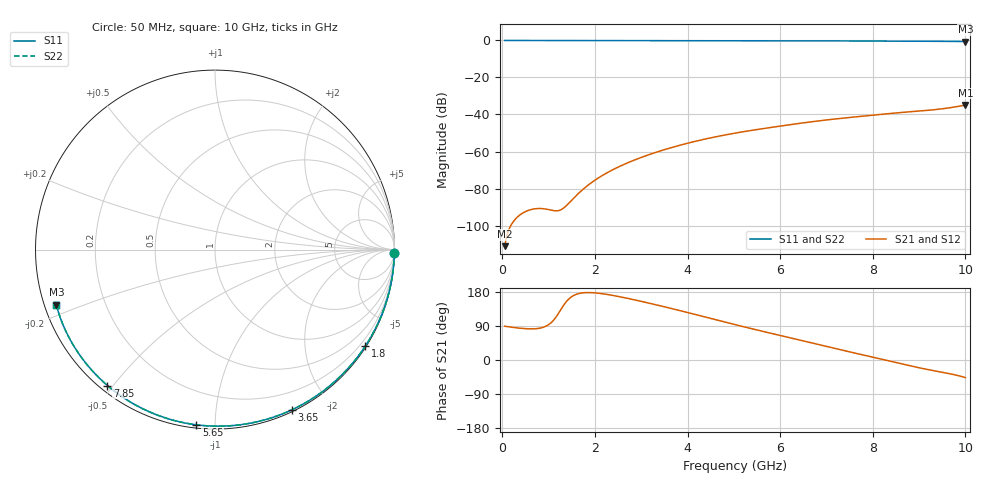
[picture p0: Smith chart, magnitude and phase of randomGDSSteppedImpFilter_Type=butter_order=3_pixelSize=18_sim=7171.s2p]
! freq	dB(S11)	phase(S11)	dB(S12)	phase(S12)
!  dB(S21)	phase(S21)	dB(S22)	phase(S22)
!S-par simulation data
#  GHz  S  DB  R 50
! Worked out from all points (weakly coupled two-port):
!   200 points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, 50 MHz to 10 GHz, reference 50 ohm
!   highest |S21| = -34.91 dB at 10 GHz (marker M1); lowest = -111.1 dB at 50 MHz (marker M2)
!   lowest |S11| = -0.6 dB at 10 GHz (marker M3), VSWR 30.11, Z = 1.71 - j8.44 ohm
!   |S11| at or under -10 dB: nowhere
!   |S22| runs from -0.6 to 0.0 dB; largest |S21 - S12| = 0
!   S11 on the Smith chart (normalised r, x): 50 MHz: open; 1.8 GHz: 0.03, -3.41; 3.65 GHz: 0.02, -1.59; 5.65 GHz: 0.02, -0.90; 7.85 GHz: 0.02, -0.48; 10 GHz: 0.03, -0.17
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0.05  -0.00 -0.9  -111.14 89.2  -111.14 89.2  -0.00 -0.9
0.5  -0.01 -9.2  -92.46 82.7  -92.46 82.7  -0.01 -9.2
0.9  -0.02 -16.5  -90.94 87.0  -90.94 87.0  -0.02 -16.5
1.3  -0.03 -23.7  -90.99 140.0  -90.99 140.0  -0.03 -23.8
1.75  -0.04 -31.8  -80.26 177.4  -80.26 177.4  -0.04 -31.8
1.8  -0.04 -32.7  -79.21 177.8  -79.21 177.8  -0.04 -32.7
1.95  -0.05 -35.4  -76.37 177.6  -76.37 177.6  -0.05 -35.4
2.1  -0.05 -38.0  -73.87 175.9  -73.87 175.9  -0.05 -38.0
2.45  -0.06 -44.1  -69.04 169.0  -69.04 169.0  -0.06 -44.1
2.9  -0.07 -51.8  -64.14 157.5  -64.14 157.5  -0.07 -51.9
3.4  -0.08 -60.3  -59.78 143.4  -59.78 143.4  -0.08 -60.3
3.65  -0.09 -64.4  -57.90 136.0  -57.90 136.0  -0.09 -64.5
4.3  -0.11 -75.0  -53.72 116.0  -53.72 116.0  -0.11 -75.0
5.05  -0.13 -86.9  -49.97 92.7  -49.97 92.7  -0.13 -86.9
5.65  -0.16 -96.0  -47.55 74.9  -47.55 74.9  -0.16 -96.1
6.15  -0.19 -103.6  -45.73 60.7  -45.73 60.7  -0.19 -103.6
6.7  -0.22 -111.7  -43.86 44.9  -43.86 44.9  -0.22 -111.7
7.25  -0.26 -119.7  -42.26 28.6  -42.26 28.6  -0.26 -119.7
7.85  -0.30 -128.3  -40.73 11.7  -40.73 11.7  -0.30 -128.4
8.35  -0.35 -135.6  -39.51 -2.4  -39.51 -2.4  -0.35 -135.6
9.4  -0.47 -151.0  -37.22 -30.0  -37.22 -30.0  -0.47 -151.1
10  -0.58 -160.8  -34.91 -46.4  -34.91 -46.4  -0.58 -160.9
